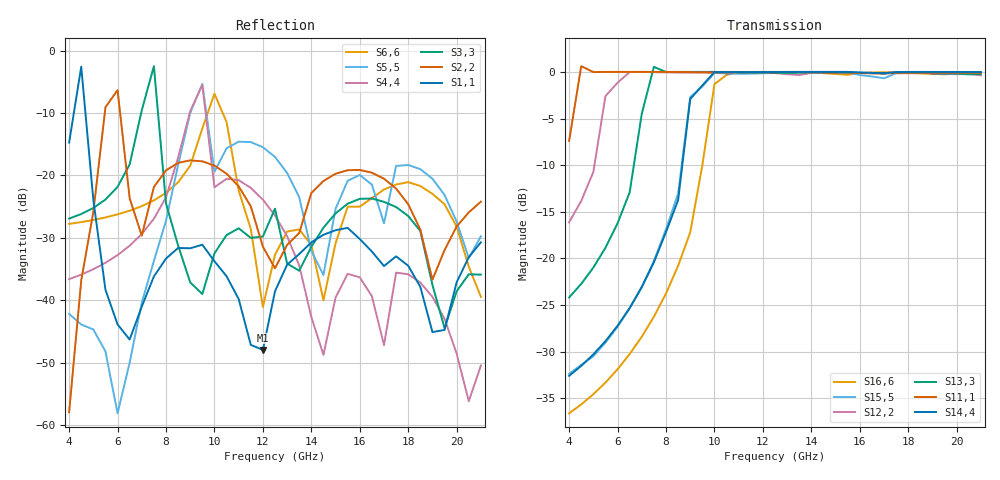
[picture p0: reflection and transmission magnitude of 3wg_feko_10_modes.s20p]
! S-parameter export from POSTFEKO
! Filename: circular_3wg_5modes
! Creation date: 2020-02-27 14:06:16
# Hz S MA R  5.0000000E+01
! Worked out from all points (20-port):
!   35 points, 4 GHz to 21 GHz, reference 50 ohm
!   strongest paths, dB at 4 GHz, 8 GHz, 12.5 GHz, 17 GHz, 21 GHz:
!     S14,4: -32.6, -17.2, 0.0, -0.2, 0.0
!     S11,1: -7.4, 0.0, 0.0, -0.2, -0.1
!     S13,3: -24.2, 0.0, -0.1, -0.1, -0.2
!     S12,2: -16.1, -0.1, -0.1, -0.1, -0.4
!     S15,5: -32.4, -16.9, -0.1, -0.7, -0.1
!     S16,6: -36.6, -23.8, 0.0, 0.0, -0.1
!   lowest |S11| = -48.0 dB at 12 GHz (marker M1), VSWR 1.01, Z = 50 + j0.399 ohm
!   |S11| at or under -10 dB: start of sweep to 4.195 GHz; 4.674 GHz to end of sweep
